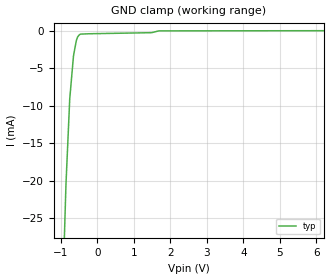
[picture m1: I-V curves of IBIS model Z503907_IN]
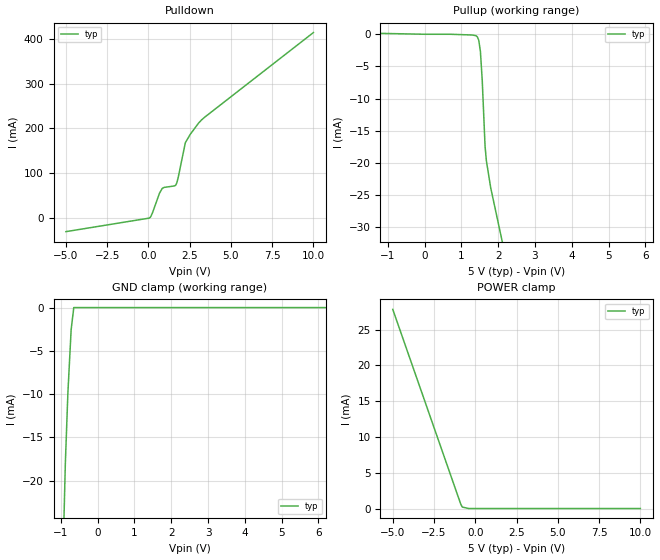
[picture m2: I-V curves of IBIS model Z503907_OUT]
| YOU ARE ONLY AUTHORIZED TO USE THIS SOFTWARE
| ACCORDING TO LICENSOR'S LICENSE RESTRICTIONS.
[IBIS Ver] 3.1
[File Name] mc54f138j.ibs
[File Rev] 2.0
[Source] Measured and created by ICX Technology
[Date] Friday 7/14/00 9:08:02 AM
[Copyright]
| (C) COPYRIGHT 1993-2000
| MENTOR GRAPHICS CORPORATION
| ICX STANDARD LIBRARY, ICX PROJECT MODELING,
| ICX CUSTOM MODELING, ICX VENDOR MODEL
| ALL RIGHTS RESERVED.
| THE FOLLOWING ARE TRADEMARKS OR SERVICE MARKS OF
| MENTOR GRAPHICS CORPORATION:ICX (R), ICX STANDARD
| LIBRARY(R), ICX PROJECT MODELING(R), ICX CUSTOM
| MODELING(R), qualityIBIS(TM), MODELVIEWER(TM),
| AND MODELEDITOR(TM)
| ALL COPIES OF SOFTWARE, INCLUDING BUT NOT LIMITED TO
| ANY MODIFICATIONS, ENHANCEMENTS OR DERIVATIVE WORKS,
| MUST CONTAIN ALL MENTOR GRAPHICS CORPORATION'S
| NOTICES AND LEGENDS, INCLUDING THOSE EMBEDDED IN
| SOFTWARE AND THOSE AFFIXED TO SOFTWARE MEDIUM
| AND CONTAINER, AS RECEIVED FROM MENTOR GRAPHICS
| CORPORATION.
|  ZAP Model Builder 2.7
[Component] MC54F138J
[Manufacturer] OnSemiconductor
[Package]
| variable   typ   min   max
R_pkg  .212ohms NA NA
L_pkg  4.758nH NA NA
C_pkg  1.944pF NA NA
[Pin] signal_name  model_name  R_pin  L_pin C_pin
1 A Z503907_IN .224 7.258n 2.683p
2 B Z503907_IN .216 5.258n 2.19p
3 C Z503907_IN .208 3.758n 1.697p
4 _G3 Z503907_IN .2 2.758n 1.204p
5 _G2 Z503907_IN .2 2.758n 1.204p
6 G1 Z503907_IN .208 3.758n 1.697p
7 _Y7 Z503907_OUT .216 5.258n 2.19p
8 GND GND .224 7.258n 2.683p
9 _Y6 Z503907_OUT .224 7.258n 2.683p
10 _Y5 Z503907_OUT .216 5.258n 2.19p
11 _Y4 Z503907_OUT .208 3.758n 1.697p
12 _Y3 Z503907_OUT .2 2.758n 1.204p
13 _Y2 Z503907_OUT .2 2.758n 1.204p
14 _Y1 Z503907_OUT .208 3.758n 1.697p
15 _Y0 Z503907_OUT .216 5.258n 2.19p
16 VCC POWER .224 7.258n 2.683p
| Models and submodels in the file (2): Z503907_IN (Input), Z503907_OUT (Output)
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| (C) COPYRIGHT 1993-2000
| MENTOR GRAPHICS CORPORATION
| ICX STANDARD LIBRARY, ICX PROJECT MODELING,
| ICX CUSTOM MODELING, ICX VENDOR MODEL
| ALL RIGHTS RESERVED.
| THE FOLLOWING ARE TRADEMARKS OR SERVICE MARKS OF
| MENTOR GRAPHICS CORPORATION:ICX (R), ICX STANDARD
| LIBRARY(R), ICX PROJECT MODELING(R), ICX CUSTOM
| MODELING(R), qualityIBIS(TM), MODELVIEWER(TM),
| AND MODELEDITOR(TM)
| ALL COPIES OF SOFTWARE, INCLUDING BUT NOT LIMITED TO
| ANY MODIFICATIONS, ENHANCEMENTS OR DERIVATIVE WORKS,
| MUST CONTAIN ALL MENTOR GRAPHICS CORPORATION'S
| NOTICES AND LEGENDS, INCLUDING THOSE EMBEDDED IN
| SOFTWARE AND THOSE AFFIXED TO SOFTWARE MEDIUM
| AND CONTAINER, AS RECEIVED FROM MENTOR GRAPHICS
| CORPORATION.
| Model Application Version 1.89 2/18/99.
[Model] Z503907_IN
Model_type Input
Vinl = 800.0mV
Vinh = 2.000V
C_comp 4.000pF NA NA
| variable typ   min   max
[Voltage Range] 5.000V NA NA
[GND Clamp Reference] 0.000V NA NA
[POWER Clamp Reference] 5.000V NA NA
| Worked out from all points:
|   GND clamp passes 1 mA (typ) near -0.55 V on its own axis
[GND Clamp]
-5V       -692.9mA   NA         NA
-859.3mV  -20.51mA   NA         NA
-755.8mV  -9.067mA   NA         NA
-653.2mV  -3.348mA   NA         NA
-576.2mV  -1.317mA   NA         NA
-541.5mV  -840.1uA   NA         NA
-498.9mV  -560.8uA   NA         NA
-461.7mV  -445.6uA   NA         NA
-230.8mV  -397.9uA   NA         NA
1.488V    -253.3uA   NA         NA
1.685V    -11.72uA   NA         NA
10V       27.71uA    NA         NA
[POWER Clamp]
-5V       0A         NA         NA
10V       0A         NA         NA
| (C) COPYRIGHT 1993-2000
| MENTOR GRAPHICS CORPORATION
| ICX STANDARD LIBRARY, ICX PROJECT MODELING,
| ICX CUSTOM MODELING, ICX VENDOR MODEL
| ALL RIGHTS RESERVED.
| THE FOLLOWING ARE TRADEMARKS OR SERVICE MARKS OF
| MENTOR GRAPHICS CORPORATION:ICX (R), ICX STANDARD
| LIBRARY(R), ICX PROJECT MODELING(R), ICX CUSTOM
| MODELING(R), qualityIBIS(TM), MODELVIEWER(TM),
| AND MODELEDITOR(TM)
| ALL COPIES OF SOFTWARE, INCLUDING BUT NOT LIMITED TO
| ANY MODIFICATIONS, ENHANCEMENTS OR DERIVATIVE WORKS,
| MUST CONTAIN ALL MENTOR GRAPHICS CORPORATION'S
| NOTICES AND LEGENDS, INCLUDING THOSE EMBEDDED IN
| SOFTWARE AND THOSE AFFIXED TO SOFTWARE MEDIUM
| AND CONTAINER, AS RECEIVED FROM MENTOR GRAPHICS
| CORPORATION.
| Model Application Version 1.89 2/18/99.
[Model] Z503907_OUT
Model_type Output
Vref=0.000V
Rref=500.0ohms
Cref=50.00pF
Vmeas=1.500V
C_comp 8.000pF NA NA
| variable typ   min   max
[Voltage Range] 5.000V NA NA
[POWER Clamp Reference] 5.000V NA NA
[Pullup Reference] 5.000V NA NA
[Pulldown Reference] 0.000V NA NA
[GND Clamp Reference] 0.000V NA NA
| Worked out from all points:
|   slope of the pulldown table from 0 to 0.75 V, typ, clamps not added: 12.3 ohm
|   slope of the pullup table from 0 to 0.75 V, typ, clamps not added: 78.3 kohm
|   GND clamp passes 1 mA (typ) near -0.68 V on its own axis
[GND Clamp]
-5V       -1.301A    NA         NA
-1.141V   -71.05mA   NA         NA
-1.03V    -43.92mA   NA         NA
-878.9mV  -18.04mA   NA         NA
-810.4mV  -9.933mA   NA         NA
-721.4mV  -2.559mA   NA         NA
-649.3mV  0A         NA         NA
10V       0A         NA         NA
[Pulldown]
-5V       -31.23mA   NA         NA
68.63mV   -515.3uA   NA         NA
238.8mV   10.15mA    NA         NA
666.8mV   54.39mA    NA         NA
834.9mV   65.52mA    NA         NA
1.664V    73.51mA    NA         NA
1.807V    90.34mA    NA         NA
2.237V    167.9mA    NA         NA
2.539V    186.8mA    NA         NA
3.028V    211.3mA    NA         NA
3.432V    225.7mA    NA         NA
10V       414.6mA    NA         NA
[Pullup]
-5V       589.5uA    NA         NA
706mV     12.34uA    NA         NA
1.401V    -211.4uA   NA         NA
1.436V    -409.3uA   NA         NA
1.473V    -920.3uA   NA         NA
1.518V    -2.661mA   NA         NA
1.568V    -7.213mA   NA         NA
1.644V    -17.38mA   NA         NA
1.68V     -19.66mA   NA         NA
1.797V    -23.85mA   NA         NA
10V       -243.1mA   NA         NA
[POWER Clamp]
-5V       27.83mA    NA         NA
-883mV    626.2uA    NA         NA
-790mV    202.7uA    NA         NA
-395mV    0A         NA         NA
10V       0A         NA         NA
[Ramp]
| variable typ min max
dV/dt_r 2.014/2.638n NA NA
dV/dt_f 2.014/2.335n NA NA
R_load = 500.0Ohms
